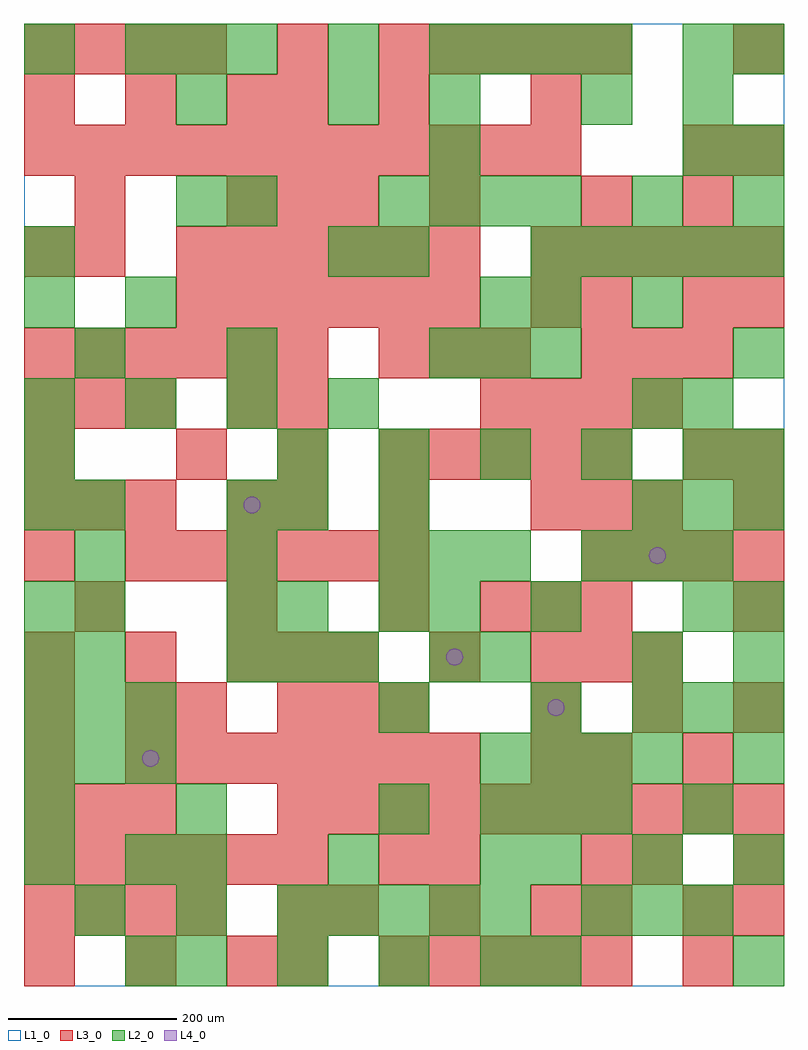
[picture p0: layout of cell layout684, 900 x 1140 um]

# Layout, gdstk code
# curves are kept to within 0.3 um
import gdstk
lib = gdstk.Library(unit=1e-6, precision=1e-09)
def R(c, l, rs):  # rectangles x0, y0, x1, y1
    for r in rs: c.add(gdstk.rectangle(r[:2], r[2:], *l))
def A(c, l, x, y, w, h, nx, ny, dx, dy):  # array of equal rectangles
    R(c, l, [(x+i*dx, y+j*dy, x+i*dx+w, y+j*dy+h) for i in range(nx) for j in range(ny)])
def P(c, l, *ps):  # polygons
    for p in ps: c.add(gdstk.Polygon(p, *l))
L1_0 = (1, 0)
L2_0 = (2, 0)
L3_0 = (3, 0)
L4_0 = (4, 0)

layout684 = lib.new_cell('layout684')
R(layout684, L1_0, [(0,0,900,1140)])
A(layout684, L2_0, 180, 0, 60, 60, 4, 1, 120, 0)
A(layout684, L2_0, 60, 60, 60, 60, 3, 1, 120, 0)
A(layout684, L2_0, 360, 60, 60, 60, 4, 1, 60, 0)
A(layout684, L2_0, 660, 60, 60, 60, 3, 2, 60, 420)
A(layout684, L2_0, 180, 120, 60, 60, 3, 1, 180, 0)
A(layout684, L2_0, 600, 120, 60, 60, 3, 1, 120, 0)
A(layout684, L2_0, 420, 180, 60, 60, 1, 4, 0, 120)
A(layout684, L2_0, 540, 180, 60, 60, 3, 1, 60, 0)
A(layout684, L2_0, 780, 180, 60, 60, 1, 3, 0, 240)
A(layout684, L2_0, 0, 240, 60, 60, 3, 2, 60, 60)
A(layout684, L2_0, 540, 240, 60, 60, 4, 1, 60, 0)
A(layout684, L2_0, 720, 300, 60, 60, 3, 2, 60, 240)
A(layout684, L2_0, 240, 360, 60, 60, 3, 1, 60, 0)
A(layout684, L2_0, 480, 360, 60, 60, 1, 3, 0, 60)
A(layout684, L2_0, 60, 480, 60, 60, 3, 1, 180, 0)
A(layout684, L2_0, 240, 540, 60, 60, 1, 3, 0, 180)
A(layout684, L2_0, 300, 600, 60, 60, 5, 1, 120, 0)
A(layout684, L2_0, 0, 660, 60, 60, 4, 1, 120, 0)
A(layout684, L2_0, 720, 660, 60, 60, 1, 3, 0, 120)
A(layout684, L2_0, 480, 720, 60, 60, 3, 1, 60, 0)
A(layout684, L2_0, 600, 840, 60, 60, 5, 1, 60, 0)
A(layout684, L2_0, 420, 900, 60, 60, 4, 1, 60, 0)
A(layout684, L2_0, 780, 960, 60, 60, 1, 3, 0, 60)
A(layout684, L2_0, 120, 1080, 60, 60, 3, 1, 60, 0)
A(layout684, L2_0, 480, 1080, 60, 60, 4, 1, 60, 0)
R(layout684, L2_0, [(120,0,180,60), (600,0,660,60), (840,0,900,60), (0,120,60,180), (120,120,180,180), (0,180,60,240), (180,180,240,240), (840,240,900,300), (600,300,660,360), (0,360,60,420), (60,360,120,420), (540,360,600,420), (720,360,780,420), (840,360,900,420), (0,420,60,480), (60,420,120,480), (240,420,300,480), (300,420,360,480), (600,420,660,480), (840,420,900,480), (540,480,600,540), (0,540,60,600), (60,540,120,600), (300,540,360,600), (0,600,60,660), (840,600,900,660), (60,720,120,780), (840,720,900,780), (0,780,60,840), (120,780,180,840), (540,780,600,840), (600,780,660,840), (0,840,60,900), (360,840,420,900), (420,840,480,900), (180,900,240,960), (840,900,900,960), (480,960,540,1020), (840,960,900,1020), (180,1020,240,1080), (360,1020,420,1080), (480,1020,540,1080), (660,1020,720,1080), (0,1080,60,1140), (360,1080,420,1140), (840,1080,900,1140)])
A(layout684, L3_0, 0, 0, 60, 60, 3, 2, 120, 360)
A(layout684, L3_0, 420, 0, 60, 60, 5, 2, 60, 1080)
A(layout684, L3_0, 0, 60, 60, 60, 4, 2, 60, 1020)
A(layout684, L3_0, 360, 60, 60, 60, 3, 2, 120, 300)
A(layout684, L3_0, 0, 120, 60, 60, 6, 2, 60, 600)
A(layout684, L3_0, 660, 120, 60, 60, 1, 3, 0, 120)
A(layout684, L3_0, 0, 180, 60, 60, 3, 2, 60, 360)
A(layout684, L3_0, 300, 180, 60, 60, 10, 1, 60, 0)
A(layout684, L3_0, 120, 240, 60, 60, 7, 1, 60, 0)
A(layout684, L3_0, 300, 300, 60, 60, 3, 1, 60, 0)
A(layout684, L3_0, 600, 300, 60, 60, 3, 1, 120, 0)
A(layout684, L3_0, 60, 420, 60, 60, 3, 1, 180, 0)
A(layout684, L3_0, 540, 420, 60, 60, 3, 1, 60, 0)
A(layout684, L3_0, 120, 480, 60, 60, 6, 1, 60, 0)
A(layout684, L3_0, 660, 480, 60, 60, 4, 1, 60, 0)
A(layout684, L3_0, 600, 540, 60, 60, 3, 1, 60, 0)
A(layout684, L3_0, 180, 600, 60, 60, 3, 1, 120, 0)
A(layout684, L3_0, 480, 600, 60, 60, 4, 1, 60, 0)
A(layout684, L3_0, 840, 600, 60, 60, 1, 3, 0, 180)
A(layout684, L3_0, 0, 660, 60, 60, 3, 1, 60, 0)
A(layout684, L3_0, 540, 660, 60, 60, 4, 1, 60, 0)
A(layout684, L3_0, 420, 720, 60, 60, 3, 1, 60, 0)
A(layout684, L3_0, 660, 720, 60, 60, 3, 1, 60, 0)
A(layout684, L3_0, 180, 780, 60, 60, 6, 2, 60, 60)
A(layout684, L3_0, 600, 840, 60, 60, 5, 1, 60, 0)
A(layout684, L3_0, 240, 900, 60, 60, 3, 1, 60, 0)
A(layout684, L3_0, 0, 960, 60, 60, 11, 1, 60, 0)
A(layout684, L3_0, 0, 1020, 60, 60, 3, 1, 120, 0)
R(layout684, L3_0, [(300,0,360,60), (780,0,840,60), (300,60,360,120), (660,60,720,120), (780,60,840,120), (840,60,900,120), (420,120,480,180), (480,120,540,180), (720,120,780,180), (840,120,900,180), (0,240,60,300), (600,240,660,300), (780,240,840,300), (0,300,60,360), (120,300,180,360), (180,300,240,360), (300,360,360,420), (720,360,780,420), (840,420,900,480), (0,480,60,540), (240,540,300,600), (300,540,360,600), (420,540,480,600), (840,540,900,600), (0,600,60,660), (780,600,840,660), (240,660,300,720), (300,660,360,720), (600,780,660,840), (660,780,720,840), (780,780,840,840), (0,840,60,900), (60,840,120,900), (60,900,120,960), (480,900,540,960), (660,900,720,960), (780,900,840,960), (780,960,840,1020), (300,1020,360,1080), (420,1020,480,1080), (600,1020,660,1080), (300,1080,360,1140), (840,1080,900,1140)])
P(layout684, L4_0, [(160,270),(159.239,273.827),(157.071,277.071),(153.827,279.239),(150,280),(146.173,279.239),(142.929,277.071),(140.761,273.827),(140,270),(140.761,266.173),(142.929,262.929),(146.173,260.761),(150,260),(153.827,260.761),(157.071,262.929),(159.239,266.173)],
  [(280,570),(279.239,573.827),(277.071,577.071),(273.827,579.239),(270,580),(266.173,579.239),(262.929,577.071),(260.761,573.827),(260,570),(260.761,566.173),(262.929,562.929),(266.173,560.761),(270,560),(273.827,560.761),(277.071,562.929),(279.239,566.173)],
  [(520,390),(519.239,393.827),(517.071,397.071),(513.827,399.239),(510,400),(506.173,399.239),(502.929,397.071),(500.761,393.827),(500,390),(500.761,386.173),(502.929,382.929),(506.173,380.761),(510,380),(513.827,380.761),(517.071,382.929),(519.239,386.173)],
  [(640,330),(639.239,333.827),(637.071,337.071),(633.827,339.239),(630,340),(626.173,339.239),(622.929,337.071),(620.761,333.827),(620,330),(620.761,326.173),(622.929,322.929),(626.173,320.761),(630,320),(633.827,320.761),(637.071,322.929),(639.239,326.173)],
  [(760,510),(759.239,513.827),(757.071,517.071),(753.827,519.239),(750,520),(746.173,519.239),(742.929,517.071),(740.761,513.827),(740,510),(740.761,506.173),(742.929,502.929),(746.173,500.761),(750,500),(753.827,500.761),(757.071,502.929),(759.239,506.173)])

lib.write_gds('layout684.gds')
